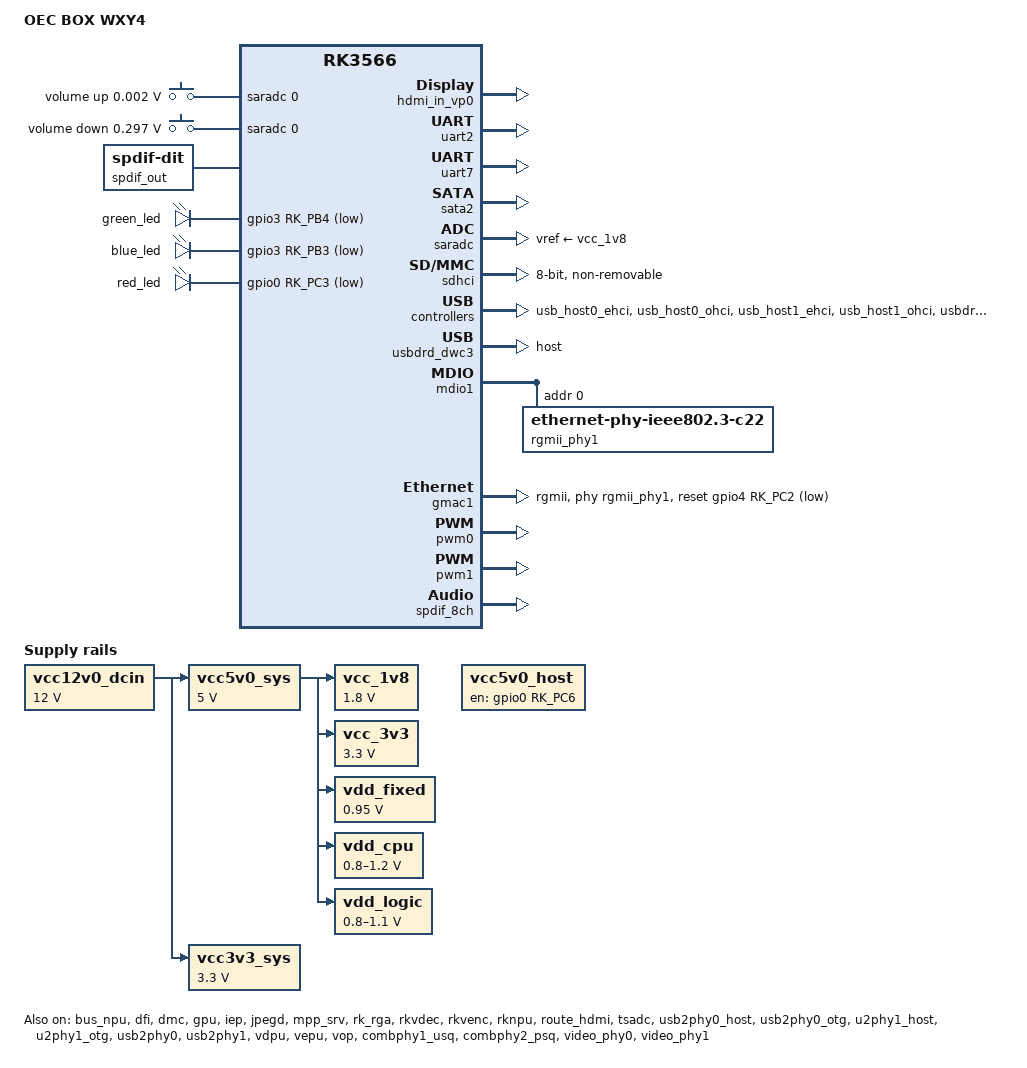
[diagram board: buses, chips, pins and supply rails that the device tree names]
// SPDX-License-Identifier: (GPL-2.0+ OR MIT)
/*
 * Copyright (c) 2020 Rockchip Electronics Co., Ltd.
 *
 */
/dts-v1/;

#include <dt-bindings/gpio/gpio.h>
#include <dt-bindings/pwm/pwm.h>
#include <dt-bindings/pinctrl/rockchip.h>
#include <dt-bindings/input/rk-input.h>
#include <dt-bindings/display/drm_mipi_dsi.h>
#include <dt-bindings/sensor-dev.h>
#include <dt-bindings/display/rockchip_vop.h>
#include "rk3566.dtsi"
#include "rk3568-linux.dtsi"


/ {
	model = "OEC BOX WXY4";
	compatible = "rockchip,rk3566-oec-box-wxy4", "rockchip,rk3566";

	aliases {
		ethernet0 = &gmac1;
		mmc0 = &sdhci;
		mmc1 = &sdmmc0;
		sata2 = &sata2;
	};

	chosen: chosen {
		bootargs = "earlycon=uart8250,mmio32,0xfe660000 console=ttyFIQ0";
	};


	adc_keys: adc-keys {
		compatible = "adc-keys";
		io-channels = <&saradc 0>;
		io-channel-names = "buttons";
		keyup-threshold-microvolt = <1800000>;
		poll-interval = <100>;

		vol-up-key {
			label = "volume up";
			linux,code = <KEY_VOLUMEUP>;
			press-threshold-microvolt = <1750>;
		};

		vol-down-key {
			label = "volume down";
			linux,code = <KEY_VOLUMEDOWN>;
			press-threshold-microvolt = <297500>;
		};
	};

	vcc12v0_dcin: regulator-vcc12v0-dcin {
		compatible = "regulator-fixed";
		regulator-name = "vcc12v0_dcin";
		regulator-always-on;
		regulator-boot-on;
		regulator-min-microvolt = <12000000>;
		regulator-max-microvolt = <12000000>;
	};	

	hdmi_sound: hdmi-sound {
		compatible = "simple-audio-card";
		simple-audio-card,format = "i2s";
		simple-audio-card,mclk-fs = <256>;
		simple-audio-card,name = "hdmi-sound";
		status = "okay";
		rockchip,jack-det;

		simple-audio-card,cpu {
				sound-dai = <&i2s0_8ch>;
		};
		simple-audio-card,codec {
				sound-dai = <&hdmi>;
		};

	};

	spdif_sound: spdif-sound {
		status = "disabled";
		compatible = "simple-audio-card";
		simple-audio-card,name = "ROCKCHIP,SPDIF";
		simple-audio-card,cpu {
			sound-dai = <&spdif_8ch>;
		};
		simple-audio-card,codec {
			sound-dai = <&spdif_out>;
		};
	};

	spdif_out: spdif-out {
		status = "okay";
		compatible = "linux,spdif-dit";
		#sound-dai-cells = <0>;
	};


	vcc5v0_sys: regulator-vcc5v0-sys {
		compatible = "regulator-fixed";
		regulator-name = "vcc5v0_sys";
		regulator-always-on;
		regulator-boot-on;
		regulator-min-microvolt = <5000000>;
		regulator-max-microvolt = <5000000>;
		vin-supply = <&vcc12v0_dcin>;
	};

	vcc3v3_sys: regulator-vcc3v3-sys {
		compatible = "regulator-fixed";
		regulator-name = "vcc3v3_sys";
		regulator-always-on;
		regulator-boot-on;
		regulator-min-microvolt = <3300000>;
		regulator-max-microvolt = <3300000>;
		vin-supply = <&vcc12v0_dcin>;
	};

	vcc_1v8:vcc_1v8 {
		compatible = "regulator-fixed";
		regulator-name = "vcc_1v8";
		regulator-always-on;
		regulator-boot-on;
		regulator-min-microvolt = <1800000>;
		regulator-max-microvolt = <1800000>;
		vin-supply = <&vcc5v0_sys>;
	};

	vcc_3v3:vcc_3v3 {
		compatible = "regulator-fixed";
		regulator-name = "vcc_3v3";
		regulator-always-on;
		regulator-boot-on;
		regulator-min-microvolt = <3300000>;
		regulator-max-microvolt = <3300000>;
		vin-supply = <&vcc5v0_sys>;
	};

	vdd_fixed:vdd-fixed {
		compatible = "regulator-fixed";
		regulator-name = "vdd_fixed";
		regulator-min-microvolt = <950000>;
		regulator-max-microvolt = <950000>;
		regulator-always-on;
		regulator-boot-on;
		vin-supply = <&vcc5v0_sys>;
	};

	vdd_cpu:vdd-cpu {
		compatible = "pwm-regulator";
		pwms = <&pwm0 0 5000 1>;
		regulator-name = "vdd_cpu";
		regulator-min-microvolt = <800000>;
		regulator-max-microvolt = <1200000>;
		regulator-init-microvolt = <950000>;
		regulator-always-on;
		regulator-boot-on;
		regulator-settling-time-up-us = <250>;
		regulator-ramp-delay = <2300>;
		pwm-supply = <&vcc5v0_sys>;
		status = "okay";
	};

	vdd_logic:vdd-logic {
		compatible = "pwm-regulator";
		pwms = <&pwm1 0 5000 1>;
		regulator-name = "vdd_logic";
		regulator-min-microvolt = <800000>;
		regulator-max-microvolt = <1100000>;
		regulator-init-microvolt = <950000>;
		regulator-always-on;
		regulator-boot-on;
		regulator-settling-time-up-us = <250>;
		regulator-ramp-delay = <6001>;
		pwm-supply = <&vcc5v0_sys>;
		status = "okay";
	};

	gpio-leds {
		compatible = "gpio-leds";

		green_led: green-led {
			gpios = <&gpio3 RK_PB4 GPIO_ACTIVE_LOW>;
			default-state = "on";
			retain-state-suspended;
		};

		blue_led: blue-led {
			gpios = <&gpio3 RK_PB3 GPIO_ACTIVE_LOW>;
			default-state = "off";
			retain-state-suspended;
		};

		red_led: red-led {
			gpios = <&gpio0 RK_PC3 GPIO_ACTIVE_LOW>;
			default-state = "off";
			retain-state-suspended;
		};

	};

	vcc5v0_host: vcc5v0-host-regulator {
		compatible = "regulator-fixed";
		enable-active-high;
		gpio = <&gpio0 RK_PC6 GPIO_ACTIVE_HIGH>;
		pinctrl-names = "default";
		pinctrl-0 = <&vcc5v0_host_en>;
		regulator-name = "vcc5v0_host";
		regulator-always-on;
	};

	test-power {
		status = "okay";
	};

	/*
	 * from 6.12.x
	 * There are no private per-core L2 caches, but only the
	 * L3 cache that appears to the CPU cores as L2 caches
	 */
	l3_cache: l3-cache {
		compatible = "cache";
		cache-level = <2>;
		cache-unified;
		cache-size = <0x80000>;
		cache-line-size = <64>;
		cache-sets = <512>;
	};

};

&bus_npu {
	bus-supply = <&vdd_logic>;
	pvtm-supply = <&vdd_cpu>;
	status = "okay";
};

&cpu0 {
	cpu-supply = <&vdd_cpu>;
	i-cache-size = <0x8000>;
	i-cache-line-size = <64>;
	i-cache-sets = <128>;
	d-cache-size = <0x8000>;
	d-cache-line-size = <64>;
	d-cache-sets = <128>;
	next-level-cache = <&l3_cache>;
};

&cpu1 {
	cpu-supply = <&vdd_cpu>;
	i-cache-size = <0x8000>;
	i-cache-line-size = <64>;
	i-cache-sets = <128>;
	d-cache-size = <0x8000>;
	d-cache-line-size = <64>;
	d-cache-sets = <128>;
	next-level-cache = <&l3_cache>;
};

&cpu2 {
	cpu-supply = <&vdd_cpu>;
	i-cache-size = <0x8000>;
	i-cache-line-size = <64>;
	i-cache-sets = <128>;
	d-cache-size = <0x8000>;
	d-cache-line-size = <64>;
	d-cache-sets = <128>;
	next-level-cache = <&l3_cache>;
};

&cpu3 {
	cpu-supply = <&vdd_cpu>;
	i-cache-size = <0x8000>;
	i-cache-line-size = <64>;
	i-cache-sets = <128>;
	d-cache-size = <0x8000>;
	d-cache-line-size = <64>;
	d-cache-sets = <128>;
	next-level-cache = <&l3_cache>;
};

&dfi {
	status = "okay";
};

&dmc {
//原厂关闭了自动调频
	auto-freq-en = <0>;
	center-supply = <&vdd_fixed>;
	status = "okay";
};

&gpu {
//	clock-names = "gpu", "bus";
//	interrupt-names = "gpu", "mmu", "job";
	mali-supply = <&vdd_fixed>;
	status = "okay";
};


&display_subsystem {
    status = "disabled";
};

&hdmi {
	status = "disabled";
	rockchip,phy-table =
		<92812500  0x8009 0x0000 0x0270>,
		<165000000 0x800b 0x0000 0x026d>,
		<185625000 0x800b 0x0000 0x01ed>,
		<297000000 0x800b 0x0000 0x01ad>,
		<594000000 0x8029 0x0000 0x0088>,
		<000000000 0x0000 0x0000 0x0000>;
	rockchip,defaultmode = <4>;
};

&hdmi_in_vp0 {
	status = "okay";
};


&i2c0 {
	status = "disabled";

};

&i2c1 {
	status = "disabled";
};

&i2c2 {
	status = "disabled";
};

&uart2 {
	status = "okay";
};

&uart7 {
	status = "okay";
};

&i2s1_8ch {
	status = "disabled";
	rockchip,clk-trcm = <1>;
	pinctrl-names = "default";
	pinctrl-0 = <&i2s1m0_sclktx
		     &i2s1m0_lrcktx
		     &i2s1m0_sdi0
		     &i2s1m0_sdo0>;
};


&i2s3_2ch{
	status = "disabled";
};

&iep {
	status = "okay";
};

&iep_mmu {
	status = "okay";
};

&jpegd {
	status = "okay";
};

&jpegd_mmu {
	status = "okay";
};

&mpp_srv {
	status = "okay";
};

&sata2 {
	status = "okay";
};

&pinctrl {

	sata {
		sata_pm_reset: sata-pm-reset {
			rockchip,pins = <0 RK_PA6 RK_FUNC_GPIO &pcfg_output_high>;
		};
	};

	usb {
		vcc5v0_host_en: vcc5v0-host-en {
			rockchip,pins = <0 RK_PC6 RK_FUNC_GPIO &pcfg_pull_none>;
		};
	};

};

 /*
  * There are 10 independent IO domains in RK3566/RK3568, including PMUIO[0:2] and VCCIO[1:7].
  * 1/ PMUIO0 and PMUIO1 are fixed-level power domains which cannot be configured;
  * 2/ PMUIO2 and VCCIO1,VCCIO[3:7] domains require that their hardware power supply voltages
  *    must be consistent with the software configuration correspondingly
  *	a/ When the hardware IO level is connected to 1.8V, the software voltage configuration
  *	   should also be configured to 1.8V accordingly;
  *	b/ When the hardware IO level is connected to 3.3V, the software voltage configuration
  *	   should also be configured to 3.3V accordingly;
  * 3/ VCCIO2 voltage control selection (0xFDC20140)
  *	BIT[0]: 0x0: from GPIO_0A7 (default)
  *	BIT[0]: 0x1: from GRF
  *    Default is determined by Pin FLASH_VOL_SEL/GPIO0_A7:
  *	L:VCCIO2 must supply 3.3V
  *	H:VCCIO2 must supply 1.8V
  */

&pmu_io_domains {
        status = "okay";
		pmuio1-supply = <&vcc_3v3>;
        pmuio2-supply = <&vcc_3v3>;
        vccio1-supply = <&vcc_1v8>;
		vccio3-supply = <&vcc_3v3>;
        vccio4-supply = <&vcc_1v8>;
        vccio5-supply = <&vcc_3v3>;
        vccio6-supply = <&vcc_1v8>;
        vccio7-supply = <&vcc_3v3>;
};

&rk_rga {
	status = "okay";
};

&rkvdec {
	status = "okay";
};

&rkvdec_mmu {
	status = "okay";
};

&rkvenc {
//ps:	venc-supply = <&vdd_logic>;
	status = "okay";
};

&rkvenc_mmu {
	status = "okay";
};
//ps:
&rknpu {
	rknpu-supply = <&vdd_fixed>;
	status = "okay";
};

&rknpu_mmu {
	status = "okay";
};

&route_hdmi {
	status = "okay";
	connect = <&vp0_out_hdmi>;
};

&saradc {
	status = "okay";
	vref-supply = <&vcc_1v8>;
};

&sdhci {
	bus-width = <8>;
	mmc-hs200-1_8v;
	mmc-hs400-1_8v;
	mmc-hs400-enhanced-strobe;
	non-removable;
	status = "okay";
};

&tsadc {
	status = "okay";
};

&usb2phy0_host {
	phy-supply = <&vcc5v0_host>;
	status = "okay";
};

&usb2phy0_otg {
	status = "okay";
};

&u2phy1_host {
	phy-supply = <&vcc5v0_host>;
	status = "okay";
};

&u2phy1_otg {
	phy-supply = <&vcc5v0_host>;
	status = "okay";
};

&usb2phy0 {
	status = "okay";
};

&usb2phy1 {
	status = "okay";
};

&usb_host0_ehci {
	status = "okay";
};

&usb_host0_ohci {
	status = "okay";
};

&usb_host1_ehci {
	status = "okay";
};

&usb_host1_ohci {
	status = "okay";
};

&usbdrd_dwc3 {
//	dr_mode = "otg";
	dr_mode = "host";
	extcon = <&usb2phy0>;
	status = "okay";
};

&usbdrd30 {
	status = "okay";
};

&usbhost_dwc3 {
	status = "okay";
};

&usbhost30 {
	status = "okay";
};

&vad {
	rockchip,audio-src = <0>;
//原厂4.19删除	rockchip,buffer-time-ms = <128>;
	rockchip,det-channel = <0>;
	rockchip,mode = <0>;
};

&vdpu {
	status = "okay";
};

&vdpu_mmu {
	status = "okay";
};

&vepu {
	status = "okay";
};

&vepu_mmu {
	status = "okay";
};

&vop {
	status = "okay";
	assigned-clocks = <&cru DCLK_VOP1>;
	assigned-clock-parents = <&cru PLL_VPLL>;
};

&vop_mmu {
	status = "okay";
};

&mdio1 {
	rgmii_phy1: phy@0 {
		compatible = "ethernet-phy-ieee802.3-c22";
		reg = <0x0>;
	};
};

&gmac1 {
	phy-mode = "rgmii";
	clock_in_out = "input";

	snps,reset-gpio = <&gpio4 RK_PC2 GPIO_ACTIVE_LOW>;
	snps,reset-active-low;
	/* Reset time is 20ms, 100ms for rtl8211f */
	snps,reset-delays-us = <0 20000 100000>;

	assigned-clocks = <&cru SCLK_GMAC1_RX_TX>, <&cru SCLK_GMAC1>;
	assigned-clock-parents = <&cru SCLK_GMAC1_RGMII_SPEED>, <&gmac1_clkin>;

	pinctrl-names = "default";
	pinctrl-0 = <&gmac1m1_miim
		     &gmac1m1_tx_bus2
		     &gmac1m1_rx_bus2
		     &gmac1m1_rgmii_clk
		     &gmac1m1_rgmii_bus
		     &gmac1m1_clkinout>;

	tx_delay = <0x4f>;
	rx_delay = <0x2d>;

	phy-handle = <&rgmii_phy1>;
	status = "okay";
};

&combphy1_usq {
	status = "okay";
};

&combphy2_psq {
	status = "okay";
	pinctrl-names = "default";
	pinctrl-0 = <&sata_pm_reset>;
};

/* 5.10 pansoft

&vp0 {
	rockchip,plane-mask = <(1 << ROCKCHIP_VOP2_CLUSTER0 | 1 << ROCKCHIP_VOP2_ESMART0 | 1 <<
	ROCKCHIP_VOP2_SMART0 | 1 << ROCKCHIP_VOP2_CLUSTER1 | 1 << ROCKCHIP_VOP2_ESMART1 | 1 <<
	ROCKCHIP_VOP2_SMART1)>;
	rockchip,primary-plane = <ROCKCHIP_VOP2_SMART0>;
};
*/


&csi2_dphy_hw {
      status = "disabled";
};

&csi2_dphy0 {
        status = "disabled";
};

&csi2_dphy1 {
        status = "disabled";
};

&rkisp {
        status = "disabled";
};

&rkisp_mmu {
        status = "disabled";
};

&rkisp_vir0 {
        status = "disabled";
};

&edp {
	status = "disabled";
};

&edp_phy {
	status = "disabled";
};

&route_edp {
	status = "disabled";
};

&pwm0 {
	status = "okay";
};

&pwm1 {
	status = "okay";
};

&dsi1 {
	status = "disabled";
};

&spdif_8ch {
	status = "okay";
};

&threshold {
	temperature = <60000>;
};

&video_phy0 {
	status = "okay";
};

&video_phy1 {
	status = "okay";
};
